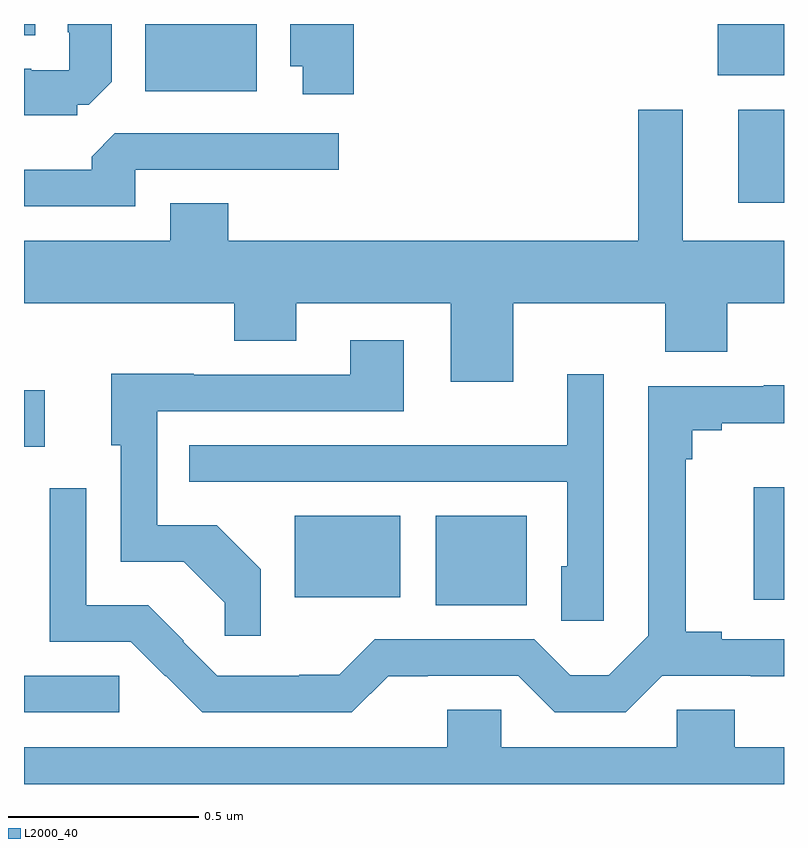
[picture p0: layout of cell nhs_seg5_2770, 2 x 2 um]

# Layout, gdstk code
import gdstk
lib = gdstk.Library(unit=1e-6, precision=1e-09)
def R(c, l, rs):  # rectangles x0, y0, x1, y1
    for r in rs: c.add(gdstk.rectangle(r[:2], r[2:], *l))
def P(c, l, *ps):  # polygons
    for p in ps: c.add(gdstk.Polygon(p, *l))
L2000_40 = (2000, 40)

nhs_seg5_2770 = lib.new_cell('nhs_seg5_2770')
R(nhs_seg5_2770, L2000_40, [(148,884.988,148.251,885.084), (149.084,885.269,149.323,885.505), (149.921,885.284,150,885.58), (148.712,885.29,148.99,885.505), (148,885.686,148.054,885.835), (149.879,886.328,150,886.573), (148.319,886.622,148.612,886.799), (149.826,886.664,150,886.799), (148,886.769,148.03,886.799)])
P(nhs_seg5_2770, L2000_40, [(148.14,886.587),(148.171,886.587),(148.231,886.647),(148.231,886.799),(148.115,886.799),(148.115,886.777),(148.119,886.777),(148.119,886.677),(148.019,886.677),(148.019,886.681),(148,886.681),(148,886.559),(148.14,886.559)],
  [(148.868,886.799),(148.7,886.799),(148.7,886.688),(148.733,886.688),(148.733,886.614),(148.868,886.614)],
  [(149.287,886.064),(149.687,886.064),(149.687,885.936),(149.851,885.936),(149.851,886.064),(150,886.064),(150,886.228),(149.734,886.228),(149.734,886.573),(149.617,886.573),(149.617,886.228),(148.538,886.228),(148.538,886.327),(148.385,886.327),(148.385,886.228),(148,886.228),(148,886.064),(148.553,886.064),(148.553,885.965),(148.717,885.965),(148.717,886.064),(149.123,886.064),(149.123,885.858),(149.287,885.858)],
  [(148.293,886.416),(148.828,886.416),(148.828,886.512),(148.239,886.512),(148.178,886.45),(148.178,886.416),(148,886.416),(148,886.32),(148.293,886.32)],
  [(148.623,885.364),(148.507,885.48),(148.35,885.48),(148.35,885.78),(148.999,885.78),(148.999,885.967),(148.859,885.967),(148.859,885.876),(148.447,885.876),(148.447,885.878),(148.229,885.878),(148.229,885.69),(148.254,885.69),(148.254,885.384),(148.42,885.384),(148.528,885.276),(148.528,885.189),(148.623,885.189)],
  [(149.526,885.877),(149.429,885.877),(149.429,885.691),(149.095,885.691),(149.095,885.69),(148.435,885.69),(148.435,885.594),(149.43,885.594),(149.43,885.372),(149.414,885.372),(149.414,885.229),(149.526,885.229)],
  [(148.958,885.083),(149.062,885.083),(149.062,885.084),(149.301,885.084),(149.397,884.988),(149.584,884.988),(149.68,885.084),(149.913,885.084),(149.913,885.083),(150,885.083),(150,885.18),(149.836,885.18),(149.836,885.2),(149.741,885.2),(149.741,885.653),(149.759,885.653),(149.759,885.73),(149.836,885.73),(149.836,885.749),(150,885.749),(150,885.848),(149.947,885.848),(149.947,885.846),(149.643,885.846),(149.643,885.189),(149.539,885.085),(149.438,885.085),(149.343,885.18),(148.923,885.18),(148.829,885.086),(148.724,885.086),(148.724,885.084),(148.509,885.084),(148.419,885.174),(148.421,885.176),(148.327,885.27),(148.164,885.27),(148.164,885.577),(148.068,885.577),(148.068,885.174),(148.281,885.174),(148.372,885.083),(148.373,885.084),(148.469,884.988),(148.863,884.988)],
  [(150,884.896),(149.87,884.896),(149.87,884.994),(149.718,884.994),(149.718,884.896),(149.256,884.896),(149.256,884.994),(149.114,884.994),(149.114,884.896),(148,884.896),(148,884.799),(150,884.799)])

lib.write_gds('nhs_seg5_2770.gds')
